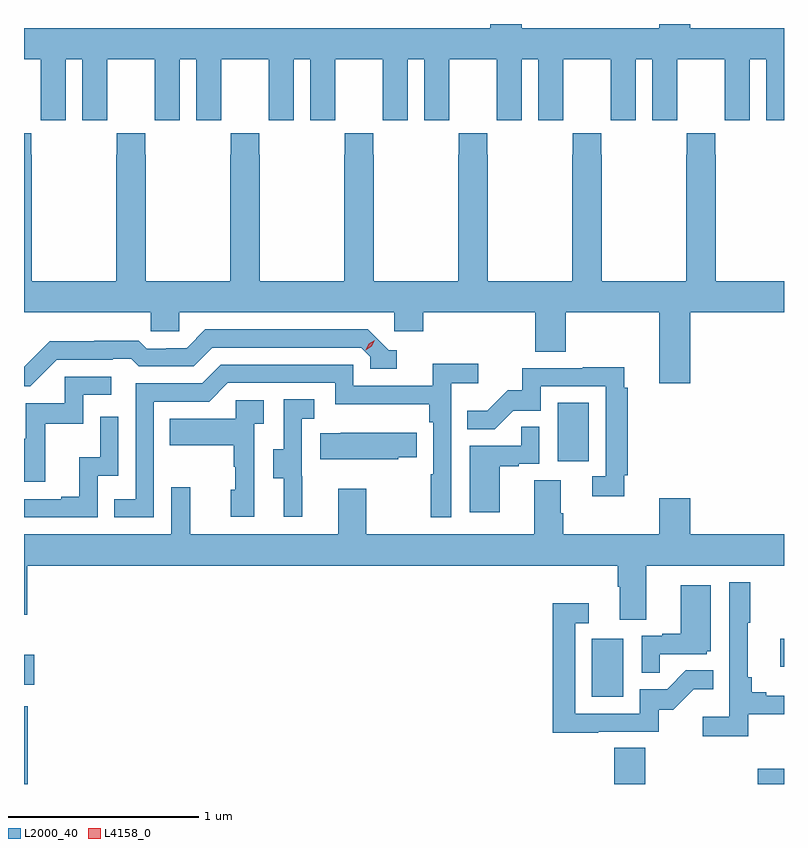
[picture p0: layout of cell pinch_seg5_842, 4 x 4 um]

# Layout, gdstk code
import gdstk
lib = gdstk.Library(unit=1e-6, precision=1e-09)
def R(c, l, rs):  # rectangles x0, y0, x1, y1
    for r in rs: c.add(gdstk.rectangle(r[:2], r[2:], *l))
def P(c, l, *ps):  # polygons
    for p in ps: c.add(gdstk.Polygon(p, *l))
L2000_40 = (2000, 40)
L4158_0 = (4158, 0)

pinch_seg5_842 = lib.new_cell('pinch_seg5_842')
R(pinch_seg5_842, L2000_40, [(821.005,874.258,821.024,874.666), (824.111,874.258,824.276,874.448), (824.867,874.258,825.005,874.338), (823.994,874.716,824.158,875.023), (821.005,874.781,821.059,874.939), (824.985,874.874,825.005,875.022), (823.814,875.958,823.978,876.265)])
P(pinch_seg5_842, L2000_40, [(821.224,878.072),(821.312,878.072),(821.312,877.752),(821.442,877.752),(821.442,877.864),(821.443,877.864),(821.443,878.072),(821.693,878.072),(821.693,877.864),(821.694,877.864),(821.694,877.752),(821.824,877.752),(821.824,878.072),(821.912,878.072),(821.912,877.752),(822.042,877.752),(822.042,877.864),(822.043,877.864),(822.043,878.072),(822.293,878.072),(822.293,877.864),(822.294,877.864),(822.294,877.752),(822.424,877.752),(822.424,878.072),(822.512,878.072),(822.512,877.752),(822.642,877.752),(822.642,877.864),(822.643,877.864),(822.643,878.072),(822.893,878.072),(822.893,877.864),(822.894,877.864),(822.894,877.752),(823.024,877.752),(823.024,878.072),(823.112,878.072),(823.112,877.752),(823.242,877.752),(823.242,877.864),(823.243,877.864),(823.243,878.072),(823.493,878.072),(823.493,877.864),(823.494,877.864),(823.494,877.752),(823.624,877.752),(823.624,878.072),(823.712,878.072),(823.712,877.752),(823.842,877.752),(823.842,877.864),(823.843,877.864),(823.843,878.072),(824.093,878.072),(824.093,877.864),(824.094,877.864),(824.094,877.752),(824.224,877.752),(824.224,878.072),(824.312,878.072),(824.312,877.752),(824.442,877.752),(824.442,877.864),(824.443,877.864),(824.443,878.072),(824.693,878.072),(824.693,877.864),(824.694,877.864),(824.694,877.752),(824.824,877.752),(824.824,878.072),(824.912,878.072),(824.912,877.752),(825.005,877.752),(825.005,878.236),(824.512,878.236),(824.512,878.258),(824.348,878.258),(824.348,878.236),(823.624,878.236),(823.624,878.258),(823.46,878.258),(823.46,878.236),(821.005,878.236),(821.005,878.072),(821.093,878.072),(821.093,877.864),(821.094,877.864),(821.094,877.752),(821.224,877.752)],
  [(824.512,876.74),(825.005,876.74),(825.005,876.904),(824.646,876.904),(824.646,877.571),(824.643,877.571),(824.643,877.684),(824.493,877.684),(824.493,877.571),(824.491,877.571),(824.491,876.904),(824.046,876.904),(824.046,877.571),(824.043,877.571),(824.043,877.684),(823.893,877.684),(823.893,877.571),(823.891,877.571),(823.891,876.904),(823.446,876.904),(823.446,877.571),(823.443,877.571),(823.443,877.684),(823.293,877.684),(823.293,877.571),(823.291,877.571),(823.291,876.904),(822.846,876.904),(822.846,877.571),(822.843,877.571),(822.843,877.684),(822.693,877.684),(822.693,877.571),(822.691,877.571),(822.691,876.904),(822.246,876.904),(822.246,877.571),(822.243,877.571),(822.243,877.684),(822.093,877.684),(822.093,877.571),(822.091,877.571),(822.091,876.904),(821.646,876.904),(821.646,877.571),(821.643,877.571),(821.643,877.684),(821.493,877.684),(821.493,877.571),(821.491,877.571),(821.491,876.904),(821.046,876.904),(821.046,877.571),(821.043,877.571),(821.043,877.684),(821.005,877.684),(821.005,876.74),(821.673,876.74),(821.673,876.642),(821.823,876.642),(821.823,876.74),(822.954,876.74),(822.954,876.642),(823.106,876.642),(823.106,876.74),(823.697,876.74),(823.697,876.532),(823.857,876.532),(823.857,876.74),(824.348,876.74),(824.348,876.366),(824.512,876.366)],
  [(821.178,876.492),(821.471,876.492),(821.471,876.495),(821.57,876.495),(821.609,876.456),(821.898,876.456),(821.997,876.555),(822.78,876.555),(822.828,876.507),(822.828,876.444),(822.967,876.444),(822.967,876.54),(822.924,876.54),(822.813,876.651),(821.96,876.651),(821.861,876.552),(821.754,876.552),(821.754,876.549),(821.651,876.549),(821.609,876.592),(821.376,876.592),(821.376,876.589),(821.14,876.589),(821.005,876.454),(821.005,876.351),(821.037,876.351)],
  [(821.688,876.27),(821.979,876.27),(822.078,876.369),(822.642,876.369),(822.642,876.257),(823.138,876.257),(823.138,876.161),(823.158,876.161),(823.158,875.888),(823.146,875.888),(823.146,875.661),(823.254,875.661),(823.254,876.368),(823.396,876.368),(823.396,876.47),(823.157,876.47),(823.157,876.354),(822.738,876.354),(822.738,876.465),(822.041,876.465),(821.942,876.366),(821.592,876.366),(821.592,875.757),(821.479,875.757),(821.479,875.661),(821.688,875.661)],
  [(824.165,875.884),(824.183,875.884),(824.183,876.344),(824.165,876.344),(824.165,876.452),(823.945,876.452),(823.945,876.447),(823.627,876.447),(823.627,876.33),(823.55,876.33),(823.443,876.223),(823.339,876.223),(823.339,876.124),(823.483,876.124),(823.581,876.222),(823.725,876.222),(823.725,876.351),(824.067,876.351),(824.067,875.877),(823.995,875.877),(823.995,875.772),(824.165,875.772)],
  [(821.117,876.153),(821.316,876.153),(821.316,876.306),(821.464,876.306),(821.464,876.402),(821.22,876.402),(821.22,876.261),(821.015,876.261),(821.015,876.075),(821.005,876.075),(821.005,875.85),(821.117,875.85)],
  [(822.47,875.877),(822.468,875.877),(822.468,876.181),(822.532,876.181),(822.532,876.284),(822.372,876.284),(822.372,876.021),(822.317,876.021),(822.317,875.866),(822.371,875.866),(822.371,875.664),(822.47,875.664)],
  [(822.216,876.155),(822.268,876.155),(822.268,876.279),(822.12,876.279),(822.12,876.181),(821.773,876.181),(821.773,876.041),(822.108,876.041),(822.108,875.927),(822.118,875.927),(822.118,875.808),(822.092,875.808),(822.092,875.664),(822.216,875.664)],
  [(821.394,875.88),(821.502,875.88),(821.502,876.19),(821.406,876.19),(821.406,875.978),(821.297,875.978),(821.297,875.77),(821.201,875.77),(821.201,875.757),(821.005,875.757),(821.005,875.661),(821.394,875.661)],
  [(823.51,875.931),(823.61,875.931),(823.61,875.943),(823.716,875.943),(823.716,876.137),(823.621,876.137),(823.621,876.039),(823.352,876.039),(823.352,875.688),(823.51,875.688)],
  [(822.975,875.977),(823.073,875.977),(823.073,876.106),(822.673,876.106),(822.673,876.103),(822.565,876.103),(822.565,875.966),(822.975,875.966)],
  [(824.281,875.408),(825.005,875.408),(825.005,875.572),(824.512,875.572),(824.512,875.761),(824.348,875.761),(824.348,875.572),(823.844,875.572),(823.844,875.684),(823.831,875.684),(823.831,875.858),(823.691,875.858),(823.691,875.572),(822.807,875.572),(822.807,875.812),(822.659,875.812),(822.659,875.572),(821.879,875.572),(821.879,875.821),(821.781,875.821),(821.781,875.572),(821.005,875.572),(821.005,875.148),(821.021,875.148),(821.021,875.408),(824.129,875.408),(824.129,875.296),(824.141,875.296),(824.141,875.122),(824.281,875.122)],
  [(824.816,874.626),(825.005,874.626),(825.005,874.723),(824.911,874.723),(824.911,874.742),(824.834,874.742),(824.834,874.819),(824.815,874.819),(824.815,875.107),(824.827,875.107),(824.827,875.32),(824.718,875.32),(824.718,874.612),(824.577,874.612),(824.577,874.51),(824.816,874.51)],
  [(824.351,874.941),(824.598,874.941),(824.598,874.956),(824.62,874.956),(824.62,875.305),(824.462,875.305),(824.462,875.05),(824.363,875.05),(824.363,875.037),(824.256,875.037),(824.256,874.843),(824.351,874.843)],
  [(824.027,874.533),(824.346,874.533),(824.346,874.65),(824.422,874.65),(824.529,874.757),(824.633,874.757),(824.633,874.856),(824.489,874.856),(824.391,874.758),(824.247,874.758),(824.247,874.629),(823.905,874.629),(823.905,875.103),(823.978,875.103),(823.978,875.209),(823.789,875.209),(823.789,874.528),(824.027,874.528)])
P(pinch_seg5_842, L4158_0, [(822.804,876.541),(822.804,876.541),(822.82,876.574),(822.85,876.594),(822.851,876.594),(822.851,876.593),(822.835,876.561),(822.804,876.541)])

lib.write_gds('pinch_seg5_842.gds')
